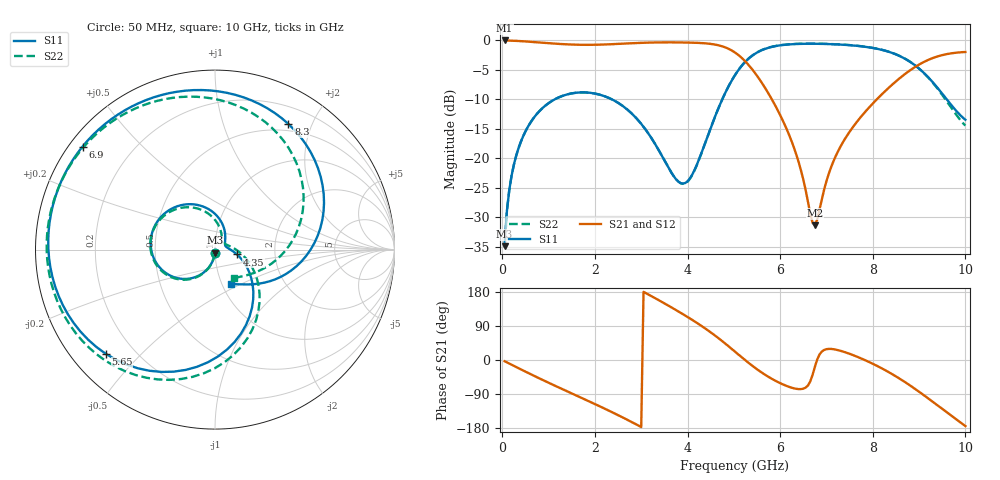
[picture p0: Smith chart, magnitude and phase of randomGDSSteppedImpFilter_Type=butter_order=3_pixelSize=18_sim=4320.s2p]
! freq	dB(S11)	phase(S11)	dB(S12)	phase(S12)
!  dB(S21)	phase(S21)	dB(S22)	phase(S22)
!S-par simulation data
#  GHz  S  DB  R 50
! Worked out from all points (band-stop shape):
!   200 points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, 50 MHz to 10 GHz, reference 50 ohm
!   highest |S21| = -0.01 dB at 50 MHz (marker M1); lowest = -31.4 dB at 6.75 GHz (marker M2)
!   |S21| within 3 dB of the highest: start of sweep to 5.176 GHz; 9.29 GHz to end of sweep
!   lowest |S11| = -34.9 dB at 50 MHz (marker M3), VSWR 1.04, Z = 49.9 - j1.8 ohm
!   |S11| at or under -10 dB: start of sweep to 1.13 GHz; 2.368 GHz to 4.749 GHz (2.381 GHz wide, 66.9 % of centre); 9.599 GHz to end of sweep
!   |S22| runs from -34.9 to -0.5 dB; largest |S21 - S12| = 0
!   S11 on the Smith chart (normalised r, x): 50 MHz: 1.00, -0.04; 4.35 GHz: 1.28, -0.07; 5.65 GHz: 0.10, -0.40; 6.9 GHz: 0.04, +0.34; 8.3 GHz: 0.41, +1.67; 10 GHz: 1.11, -0.45
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0.05  -34.88 -93.0  -0.01 -3.1  -0.01 -3.1  -34.88 -92.9
0.2  -22.95 -102.8  -0.04 -12.4  -0.04 -12.4  -22.95 -102.4
0.5  -15.42 -121.6  -0.17 -30.7  -0.17 -30.7  -15.42 -120.7
1.1  -10.13 -157.4  -0.53 -65.8  -0.53 -65.8  -10.13 -155.1
1.75  -8.81 165.6  -0.75 -102.2  -0.75 -102.2  -8.81 169.4
2.7  -11.72 108.8  -0.51 -157.8  -0.51 -157.8  -11.72 116.2
3.4  -18.92 61.1  -0.33 156.4  -0.33 156.4  -18.90 74.5
3.9  -24.27 21.9  -0.35 121.0  -0.35 121.0  -24.31 39.9
4.35  -18.03 -12.4  -0.47 85.9  -0.47 85.9  -18.07 -2.5
4.65  -11.82 -38.1  -0.79 59.3  -0.79 59.3  -11.82 -30.3
5.05  -5.59 -78.0  -2.19 19.5  -2.19 19.5  -5.57 -70.0
5.65  -1.50 -136.4  -7.74 -37.0  -7.74 -37.0  -1.48 -126.7
6.15  -0.70 -173.7  -15.21 -69.0  -15.21 -69.0  -0.68 -162.1
6.7  -0.56 153.2  -30.92 -39.4  -30.92 -39.4  -0.54 167.2
6.75  -0.57 150.4  -31.35 -18.1  -31.35 -18.1  -0.55 164.7
6.9  -0.58 142.1  -26.89 22.3  -26.89 22.3  -0.56 157.1
7.65  -0.91 100.5  -13.87 9.2  -13.87 9.2  -0.89 119.2
8.3  -1.82 59.7  -8.35 -29.0  -8.35 -29.0  -1.80 81.6
8.35  -1.94 56.3  -7.99 -32.4  -7.99 -32.4  -1.92 78.4
8.8  -3.60 23.2  -5.10 -66.7  -5.10 -66.7  -3.58 46.7
9.25  -6.69 -11.6  -3.13 -106.1  -3.13 -106.1  -6.74 11.1
10  -13.45 -64.5  -1.96 -174.4  -1.96 -174.4  -14.44 -56.6
